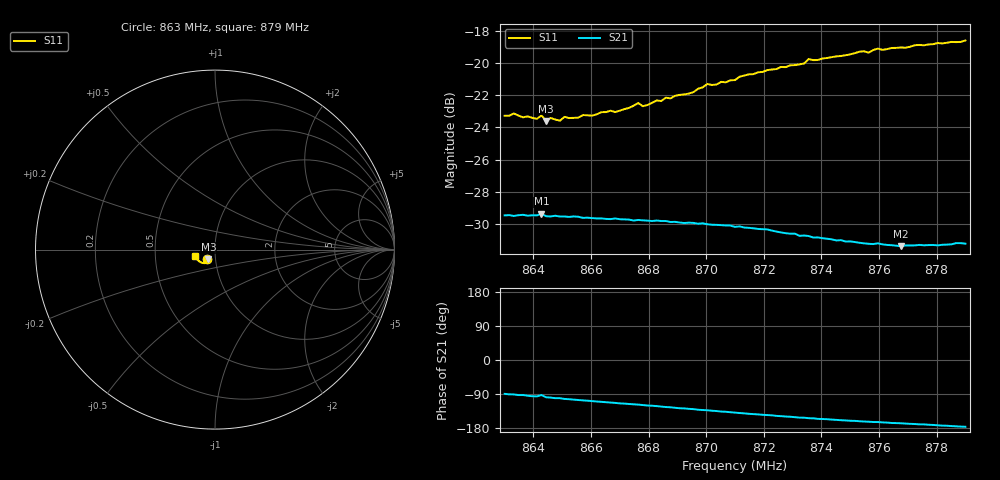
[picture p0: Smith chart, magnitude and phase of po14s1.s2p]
# HZ S RI R 50
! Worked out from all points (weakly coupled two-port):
!   101 points, 863 MHz to 879 MHz, reference 50 ohm
!   highest |S21| = -29.38 dB at 864.28 MHz (marker M1); lowest = -31.4 dB at 876.76 MHz (marker M2)
!   lowest |S11| = -23.6 dB at 864.44 MHz (marker M3), VSWR 1.14, Z = 46.2 - j5.08 ohm
!   |S11| at or under -10 dB: start of sweep to end of sweep
!   S12 and S22 are empty: the file has one direction only
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8.63e8  -0.042 -0.0542  0.000403 -0.0336  0 0  0 0
8.6332e8  -0.0436 -0.0544  -0.000487 -0.0335  0 0  0 0
8.6412e8  -0.0391 -0.0545  -0.00355 -0.0334  0 0  0 0
8.6428e8  -0.0393 -0.0564  -0.00146 -0.0339  0 0  0 0
8.6444e8  -0.037 -0.0548  -0.00488 -0.033  0 0  0 0
8.646e8  -0.0384 -0.0555  -0.00535 -0.0329  0 0  0 0
8.6492e8  -0.0345 -0.0565  -0.00623 -0.0327  0 0  0 0
8.6572e8  -0.0353 -0.0592  -0.00942 -0.0316  0 0  0 0
8.6684e8  -0.0346 -0.0613  -0.0129 -0.0302  0 0  0 0
8.6764e8  -0.0366 -0.0656  -0.0151 -0.0288  0 0  0 0
8.678e8  -0.0363 -0.0638  -0.0157 -0.0284  0 0  0 0
8.6844e8  -0.0367 -0.0668  -0.0175 -0.0271  0 0  0 0
8.6956e8  -0.0424 -0.0693  -0.0203 -0.0245  0 0  0 0
8.7004e8  -0.0451 -0.0734  -0.0214 -0.0232  0 0  0 0
8.71e8  -0.0489 -0.0738  -0.0233 -0.0204  0 0  0 0
8.7148e8  -0.0537 -0.0751  -0.0242 -0.0189  0 0  0 0
8.734e8  -0.0664 -0.0744  -0.0258 -0.0135  0 0  0 0
8.7356e8  -0.0707 -0.0749  -0.026 -0.0129  0 0  0 0
8.7372e8  -0.0708 -0.0736  -0.0257 -0.0126  0 0  0 0
8.7644e8  -0.0932 -0.061  -0.0264 -0.00646  0 0  0 0
8.7676e8  -0.0955 -0.0582  -0.0263 -0.00608  0 0  0 0
8.79e8  -0.1113 -0.038  -0.0274 -0.0018  0 0  0 0
